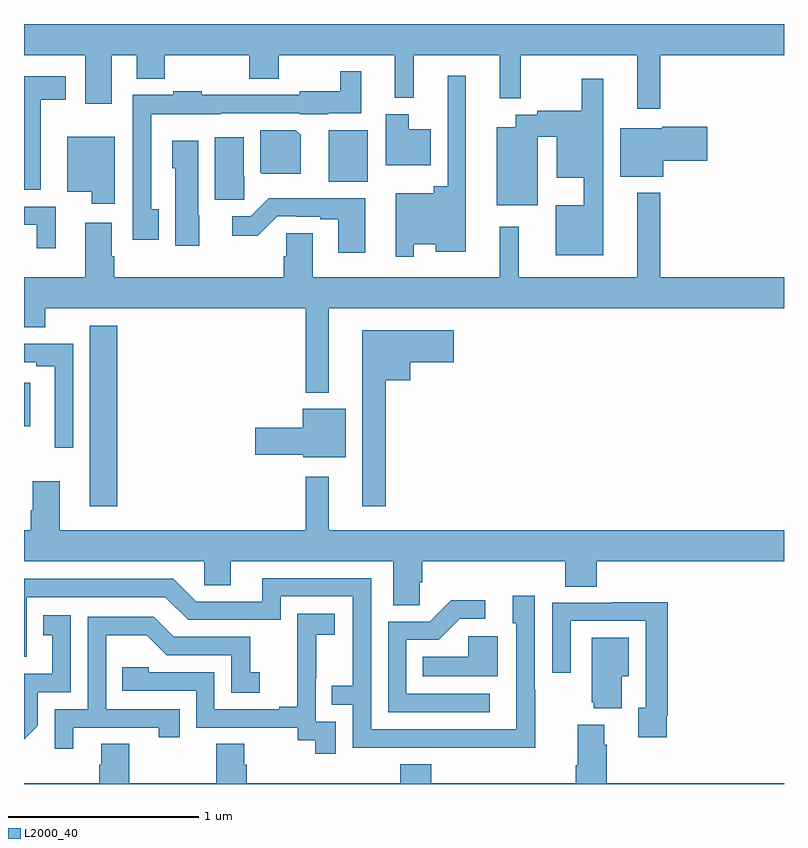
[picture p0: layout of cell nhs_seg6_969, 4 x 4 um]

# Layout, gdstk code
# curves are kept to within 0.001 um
import gdstk
lib = gdstk.Library(unit=1e-6, precision=1e-09)
def R(c, l, rs):  # rectangles x0, y0, x1, y1
    for r in rs: c.add(gdstk.rectangle(r[:2], r[2:], *l))
def P(c, l, *ps):  # polygons
    for p in ps: c.add(gdstk.Polygon(p, *l))
L2000_40 = (2000, 40)

nhs_seg6_969 = lib.new_cell('nhs_seg6_969')
R(nhs_seg6_969, L2000_40, [(171.347,944.961,171.491,945.913), (171,945.383,171.034,945.613), (172.604,946.67,172.81,946.94)])
P(nhs_seg6_969, L2000_40, [(174.349,947.336),(175,947.336),(175,947.5),(171,947.5),(171,947.336),(171.323,947.336),(171.323,947.079),(171.463,947.079),(171.463,947.336),(171.593,947.336),(171.593,947.212),(171.741,947.212),(171.741,947.336),(172.186,947.336),(172.186,947.212),(172.341,947.212),(172.341,947.336),(172.952,947.336),(172.952,947.111),(173.051,947.111),(173.051,947.336),(173.504,947.336),(173.504,947.108),(173.614,947.108),(173.614,947.336),(174.227,947.336),(174.227,947.055),(174.349,947.055)],
  [(171.709,946.526),(171.669,946.526),(171.669,947.024),(172.035,947.024),(172.035,947.031),(172.452,947.031),(172.452,947.024),(172.602,947.024),(172.602,947.03),(172.775,947.03),(172.775,947.251),(172.665,947.251),(172.665,947.146),(172.452,947.146),(172.452,947.127),(171.936,947.127),(171.936,947.145),(171.786,947.145),(171.786,947.127),(171.573,947.127),(171.573,946.365),(171.709,946.365)],
  [(173.052,946.34),(173.168,946.34),(173.168,946.301),(173.326,946.301),(173.326,947.227),(173.229,947.227),(173.229,946.645),(173.156,946.645),(173.156,946.609),(172.956,946.609),(172.956,946.275),(173.052,946.275)],
  [(171.088,947.102),(171.22,947.102),(171.22,947.224),(171,947.224),(171,946.628),(171.088,946.628)],
  [(174.049,947.212),(173.935,947.212),(173.935,947.043),(173.7,947.043),(173.7,947.023),(173.588,947.023),(173.588,946.957),(173.489,946.957),(173.489,946.547),(173.704,946.547),(173.704,946.906),(173.804,946.906),(173.804,946.691),(173.945,946.691),(173.945,946.546),(173.798,946.546),(173.798,946.283),(174.049,946.283)],
  [(173.14,946.945),(173.026,946.945),(173.026,947.026),(172.904,947.026),(172.904,946.757),(173.14,946.757)],
  [(174.364,946.781),(174.595,946.781),(174.595,946.959),(174.36,946.959),(174.36,946.951),(174.137,946.951),(174.137,946.697),(174.364,946.697)],
  [(172.456,946.916),(172.43,946.942),(172.244,946.942),(172.244,946.72),(172.252,946.712),(172.456,946.712)],
  [(171.478,946.906),(171.227,946.906),(171.227,946.616),(171.356,946.616),(171.356,946.554),(171.478,946.554)],
  [(172.16,946.698),(172.156,946.698),(172.156,946.903),(172.004,946.903),(172.004,946.575),(172.16,946.575)],
  [(171.922,946.494),(171.916,946.494),(171.916,946.885),(171.779,946.885),(171.779,946.74),(171.797,946.74),(171.797,946.332),(171.922,946.332)],
  [(172.603,946.004),(175,946.004),(175,946.168),(174.349,946.168),(174.349,946.612),(174.227,946.612),(174.227,946.168),(173.603,946.168),(173.603,946.432),(173.504,946.432),(173.504,946.168),(172.519,946.168),(172.519,946.4),(172.38,946.4),(172.38,946.278),(172.367,946.278),(172.367,946.168),(171.476,946.168),(171.476,946.277),(171.463,946.277),(171.463,946.453),(171.323,946.453),(171.323,946.168),(171,946.168),(171,945.905),(171.112,945.905),(171.112,946.004),(172.482,946.004),(172.482,945.56),(172.603,945.56)],
  [(172.795,946.583),(172.289,946.583),(172.194,946.488),(172.095,946.488),(172.095,946.386),(172.23,946.386),(172.332,946.488),(172.432,946.488),(172.432,946.485),(172.559,946.485),(172.559,946.473),(172.655,946.473),(172.655,946.296),(172.795,946.296)],
  [(171.166,946.539),(171,946.539),(171,946.443),(171.068,946.443),(171.068,946.32),(171.166,946.32)],
  [(172.903,945.626),(173.032,945.626),(173.032,945.719),(173.263,945.719),(173.263,945.889),(172.781,945.889),(172.781,944.961),(172.903,944.961)],
  [(171.258,945.816),(171,945.816),(171,945.72),(171.065,945.72),(171.065,945.7),(171.162,945.7),(171.162,945.27),(171.258,945.27)],
  [(172.693,945.475),(172.466,945.475),(172.466,945.374),(172.218,945.374),(172.218,945.232),(172.47,945.232),(172.47,945.221),(172.693,945.221)],
  [(173.082,944.563),(173.096,944.563),(173.096,944.672),(173.849,944.672),(173.849,944.539),(174.014,944.539),(174.014,944.672),(175,944.672),(175,944.836),(172.603,944.836),(172.603,945.118),(172.482,945.118),(172.482,944.836),(171.187,944.836),(171.187,945.094),(171.047,945.094),(171.047,944.942),(171.035,944.942),(171.035,944.836),(171,944.836),(171,944.672),(171.948,944.672),(171.948,944.545),(172.087,944.545),(172.087,944.672),(172.943,944.672),(172.943,944.44),(173.082,944.44)],
  [(173.691,943.997),(173.688,943.997),(173.688,944.491),(173.573,944.491),(173.573,944.346),(173.592,944.346),(173.591,943.788),(172.827,943.788),(172.827,944.583),(172.253,944.583),(172.253,944.46),(171.906,944.46),(171.786,944.58),(171,944.58),(171,944.169),(171.015,944.169),(171.015,944.484),(171.744,944.484),(171.864,944.364),(172.35,944.364),(172.35,944.487),(172.731,944.487),(172.731,944.018),(172.621,944.018),(172.621,943.917),(172.731,943.917),(172.731,943.692),(173.691,943.691)],
  [(173.452,943.974),(173.013,943.974),(173.013,944.259),(173.182,944.259),(173.293,944.37),(173.428,944.37),(173.428,944.468),(173.249,944.468),(173.136,944.355),(172.917,944.355),(172.917,943.878),(173.452,943.878)],
  [(174.382,943.858),(174.389,943.858),(174.389,944.456),(174.097,944.456),(174.097,944.454),(173.781,944.454),(173.781,944.085),(173.877,944.085),(173.877,944.358),(174.273,944.358),(174.273,943.902),(174.233,943.902),(174.233,943.746),(174.382,943.746)],
  [(172.641,943.827),(172.536,943.827),(172.536,944.057),(172.538,944.057),(172.538,944.285),(172.636,944.285),(172.636,944.395),(172.438,944.395),(172.438,944.189),(172.439,944.189),(172.439,943.906),(172.343,943.906),(172.343,943.893),(172.002,943.893),(172.002,944.088),(171.657,944.088),(171.657,944.115),(171.517,944.115),(171.517,943.992),(171.906,943.992),(171.906,943.797),(172.44,943.797),(172.44,943.729),(172.533,943.729),(172.533,943.659),(172.641,943.659)],
  [(171.072,943.806),(171.072,943.983),(171.246,943.983),(171.246,944.389),(171.1,944.389),(171.1,944.283),(171.149,944.283),(171.149,944.079),(171,944.079),(171,943.735)],
  [(171.259,943.797),(171.71,943.797),(171.71,943.746),(171.821,943.746),(171.821,943.893),(171.432,943.893),(171.432,944.282),(171.646,944.282),(171.75,944.178),(172.092,944.178),(172.092,943.98),(172.24,943.98),(172.24,944.089),(172.191,944.089),(172.191,944.274),(171.787,944.274),(171.682,944.379),(171.336,944.379),(171.336,943.893),(171.162,943.893),(171.162,943.686),(171.259,943.686)],
  [(173.494,944.278),(173.337,944.278),(173.337,944.17),(173.098,944.17),(173.098,944.066),(173.494,944.066)],
  [(174.145,944.066),(174.184,944.066),(174.184,944.269),(173.987,944.269),(173.987,943.929),(173.999,943.929),(173.999,943.898),(174.145,943.898)],
  [(175,943.504),(174.068,943.504),(174.068,943.706),(174.055,943.706),(174.055,943.813),(173.915,943.813),(173.915,943.6),(173.903,943.6),(173.903,943.504),(173.144,943.504),(173.144,943.603),(172.979,943.603),(172.979,943.504),(172.172,943.504),(172.172,943.602),(172.159,943.602),(172.159,943.712),(172.012,943.712),(172.012,943.504),(171.555,943.504),(171.555,943.712),(171.407,943.712),(171.407,943.602),(171.395,943.602),(171.395,943.504),(171,943.504),(171,943.5),(175,943.5)])

lib.write_gds('nhs_seg6_969.gds')
